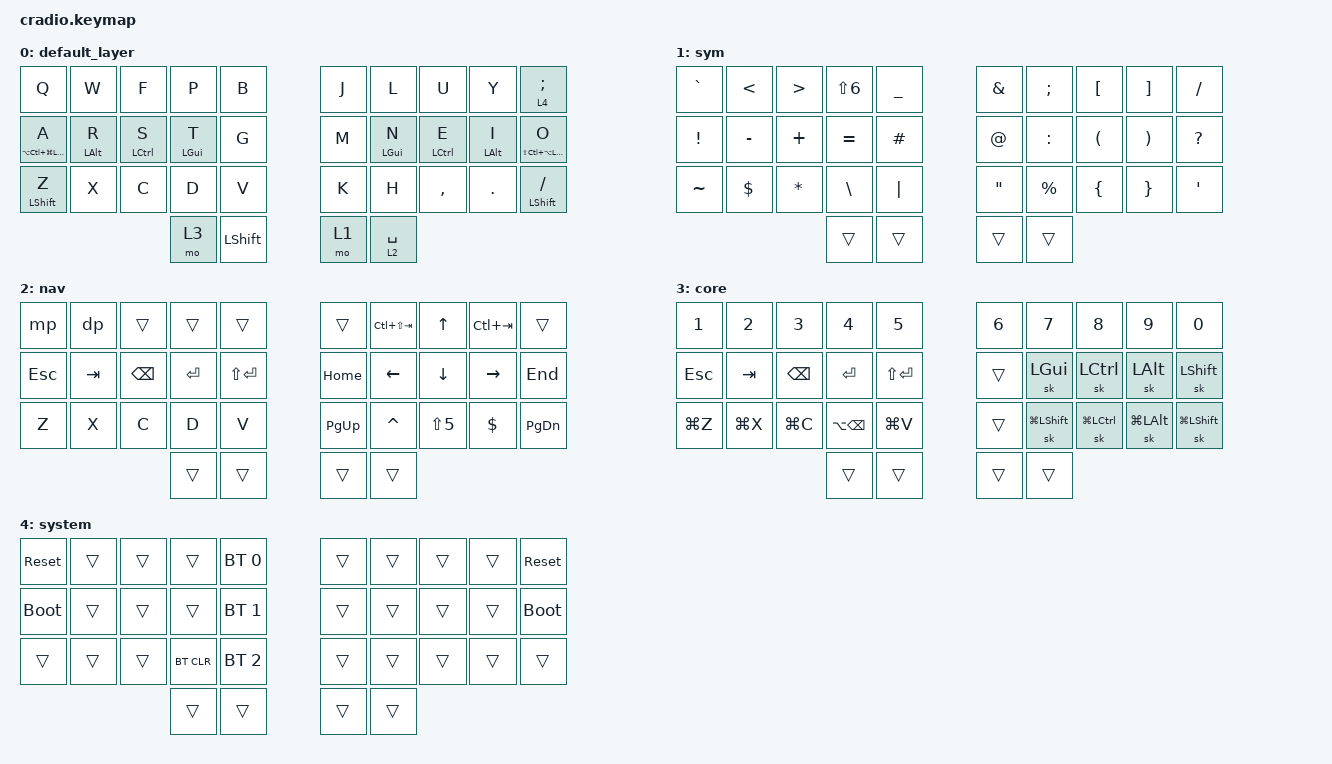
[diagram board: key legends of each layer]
// Copyright (c) 2022 The ZMK Contributors
// SPDX-License-Identifier: MIT

#include <behaviors.dtsi>
#include <dt-bindings/zmk/bt.h>
#include <dt-bindings/zmk/keys.h>

&mt { flavor = "tap-preferred"; };

&lt {
    flavor = "balanced";
    tapping-term-ms = <180>;
};

/ {
    macros {
        mp: mp {
            compatible = "zmk,behavior-macro";
            #binding-cells = <0>;
            bindings = <&none &kp M &kp A &kp S &kp T &kp E &kp R &kp LS(C) &kp H &kp LS(I) &kp E &kp LS(F) &kp AMPS &kp M &kp J &kp O &kp L &kp N &kp I &kp R &kp M &kp A &kp R &kp K &kp N5 &kp I &kp V &kp E &kp EXCL>;
            label = "MP";
        };

        dp: dp {
            compatible = "zmk,behavior-macro";
            #binding-cells = <0>;
            bindings = <&none &kp LS(M) &kp J &kp O &kp L &kp N &kp I &kp R &kp M &kp A &kp R &kp K &kp N5 &kp I &kp V &kp E>;
            label = "DP";
        };

        gg: gg {
            compatible = "zmk,behavior-macro";
            #binding-cells = <0>;
            bindings = <&none &kp G &kp G>;
            label = "GG";
        };
    };

    behaviors {
        space_test: space_test {
            compatible = "zmk,behavior-hold-tap";
            label = "SPACE_TEST";
            #binding-cells = <2>;
            tapping-term-ms = <150>;
            flavor = "balanced";
            bindings = <&lt>, <&kp>;
        };

        hml: hml {
            compatible = "zmk,behavior-hold-tap";
            label = "HML";
            bindings = <&kp>, <&kp>;

            #binding-cells = <2>;
            flavor = "balanced";
            tapping-term-ms = <280>;
            quick-tap-ms = <180>;
            require-prior-idle-ms = <125>;
            hold-trigger-key-positions = <5 6 7 8 9 15 16 17 18 19 25 26 27 28 29 32 33>;
            hold-trigger-on-release;
        };

        hmr: hmr {
            compatible = "zmk,behavior-hold-tap";
            label = "HMR";
            bindings = <&kp>, <&kp>;

            #binding-cells = <2>;
            tapping-term-ms = <300>;
            quick-tap-ms = <180>;
            require-prior-idle-ms = <125>;
            flavor = "balanced";
            hold-trigger-key-positions = <0 1 2 3 4 10 11 12 13 14 20 21 22 23 24 30 31>;
            hold-trigger-on-release;
        };
    };

    keymap {
        compatible = "zmk,keymap";

        default_layer {
            bindings = <
&kp Q                         &kp W           &kp F        &kp P           &kp B             &kp J  &kp L           &kp U        &kp Y           &lt 4 SEMICOLON
&mt LA(LC(LG(LEFT_SHIFT))) A  &mt LEFT_ALT R  &mt LCTRL S  &mt LEFT_GUI T  &kp G             &kp M  &mt LEFT_GUI N  &mt LCTRL E  &mt LEFT_ALT I  &mt LS(LC(LA(LEFT_GUI))) O
&mt LEFT_SHIFT Z              &kp X           &kp C        &kp D           &kp V             &kp K  &kp H           &kp COMMA    &kp DOT         &mt LEFT_SHIFT SLASH
                                                           &mo 3           &kp LEFT_SHIFT    &mo 1  &lt 2 SPACE
            >;
        };

        sym {
            bindings = <
&kp GRAVE  &kp LESS_THAN  &kp GREATER_THAN  &kp LS(NUMBER_6)  &kp UNDERSCORE    &kp AMPERSAND      &kp SEMICOLON  &kp LEFT_BRACKET      &kp RIGHT_BRACKET      &kp SLASH
&kp EXCL   &kp MINUS      &kp PLUS          &kp EQUAL         &kp HASH          &kp AT_SIGN        &kp COLON      &kp LEFT_PARENTHESIS  &kp RIGHT_PARENTHESIS  &kp QUESTION
&kp TILDE  &kp DOLLAR     &kp ASTERISK      &kp BACKSLASH     &kp PIPE          &kp DOUBLE_QUOTES  &kp PERCENT    &kp LEFT_BRACE        &kp RIGHT_BRACE        &kp SQT
                                            &trans            &trans            &trans             &trans
            >;
        };

        nav {
            bindings = <
&mp         &dp      &trans         &trans     &trans           &trans       &kp LC(LS(TAB))  &kp UP_ARROW  &kp LC(TAB)  &trans
&kp ESCAPE  &kp TAB  &kp BACKSPACE  &kp ENTER  &kp LS(ENTER)    &kp HOME     &kp LEFT         &kp DOWN      &kp RIGHT    &kp END
&kp Z       &kp X    &kp C          &kp D      &kp V            &kp PAGE_UP  &kp CARET        &kp LS(N5)    &kp DOLLAR   &kp PAGE_DOWN
                                    &trans     &trans           &trans       &trans
            >;
        };

        core {
            bindings = <
&kp NUMBER_1  &kp NUMBER_2  &kp NUMBER_3   &kp NUMBER_4       &kp NUMBER_5     &kp NUMBER_6  &kp NUMBER_7        &kp NUMBER_8   &kp NUMBER_9      &kp NUMBER_0
&kp ESCAPE    &kp TAB       &kp BACKSPACE  &kp ENTER          &kp LS(ENTER)    &trans        &sk LEFT_GUI        &sk LCTRL      &sk LEFT_ALT      &sk LEFT_SHIFT
&kp LG(Z)     &kp LG(X)     &kp LG(C)      &kp LA(BACKSPACE)  &kp LG(V)        &trans        &sk LG(LEFT_SHIFT)  &sk LG(LCTRL)  &sk LG(LEFT_ALT)  &sk LG(LEFT_SHIFT)
                                           &trans             &trans           &trans        &trans
            >;
        };

        system {
            bindings = <
&sys_reset   &trans  &trans  &trans      &bt BT_SEL 0    &trans  &trans  &trans  &trans  &sys_reset
&bootloader  &trans  &trans  &trans      &bt BT_SEL 1    &trans  &trans  &trans  &trans  &bootloader
&trans       &trans  &trans  &bt BT_CLR  &bt BT_SEL 2    &trans  &trans  &trans  &trans  &trans
                             &trans      &trans          &trans  &trans
            >;
        };
    };

    conditional_layers { compatible = "zmk,conditional-layers"; };
};
